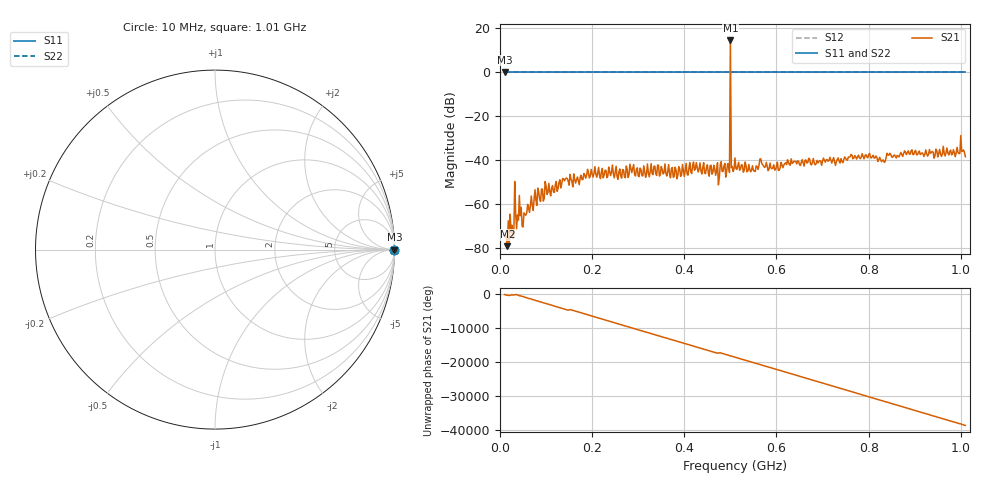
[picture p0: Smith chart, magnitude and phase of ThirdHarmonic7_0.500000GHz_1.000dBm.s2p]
! 8/17/2025 2:17:13 PM
! C:\ANRITSUVNA\TEMP\TEMP.S2P
! CHANNEL.1
! TR.MEASUREMENT
! RAW.DATA
! RF.CORRECTION.OFF
! AVERAGING.OFF
! IF.BANDWIDTH: 5KHZ
! SWEEPTYPE:  FREQ.SWEEP(Linear)
! Reference Plane Port Info
! PORT:  PORT1  PORT2
! DISTANCE:  0  m  0  m
! TIME:  0  s  0  s
! PHASE.OFFSET:  0  deg.  0  deg.
! LOSS:  0  dB  0  dB
! REF.LOSS:  0  dB  0  dB
! REF.FREQ:  0  Hz  0  Hz
! Power Info
! POWER:  -20  dBm  -20  dBm
! EFF.POWER:  -20  dBm  -20  dBm
! SOURCE.ATTEN:  0  dB  0  dB
! TEST.ATTEN:  0  dB  0  dB
# GHZ S RI R 50.0
! FREQ.GHZ  S11RE  S11IM  S21RE  S21IM  S12RE  S12IM  S22RE  S22IM
!; PortSelection: Port_12
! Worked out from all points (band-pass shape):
!   501 points, 10 MHz to 1.01 GHz, reference 50 ohm
!   highest |S21| = 14.36 dB at 500 MHz (marker M1); lowest = -79.1 dB at 16 MHz (marker M2)
!   |S21| within 3 dB of the highest: 499.9 MHz to 500.1038 MHz (203.8 kHz wide, 0.0408 % of centre)
!   lowest |S11| = 0.0 dB at 10 MHz (marker M3)
!   |S11| at or under -10 dB: nowhere
!   |S22| runs from 0.0 to 0.0 dB; largest |S21 - S12| = 6.2
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0.01  1 0  -0.000107 -0.000176  1 0  1 0
0.016  1 0  0.00011 1.07e-05  1 0  1 0
0.036  1 0  -0.000122 -0.000248  1 0  1 0
0.052  1 0  0.000438 -0.000451  1 0  1 0
0.08  1 0  -0.000815 -0.000456  1 0  1 0
0.14  1 0  0.00072 -0.00329  1 0  1 0
0.178  1 0  -0.0035 -0.000776  1 0  1 0
0.268  1 0  -0.00506 0.00319  1 0  1 0
0.286  1 0  -0.00509 0.00104  1 0  1 0
0.344  1 0  0.00718 -0.00252  1 0  1 0
0.494  1 0  -0.00508 0.00655  1 0  1 0
0.496  1 0  0.00754 0.00257  1 0  1 0
0.5  1 0  -5.059 -1.302  1 0  1 0
0.504  1 0  0.00404 0.0059  1 0  1 0
0.506  1 0  0.00538 -0.00103  1 0  1 0
0.51  1 0  -0.0109 -0.00223  1 0  1 0
0.678  1 0  0.00561 -0.0069  1 0  1 0
0.798  1 0  -0.0111 0.00206  1 0  1 0
0.832  1 0  -0.00497 -0.00864  1 0  1 0
0.844  1 0  -0.00793 0.0102  1 0  1 0
1.004  1 0  -0.0162 0.00102  1 0  1 0
1.01  1 0  0.00254 -0.0116  1 0  1 0
